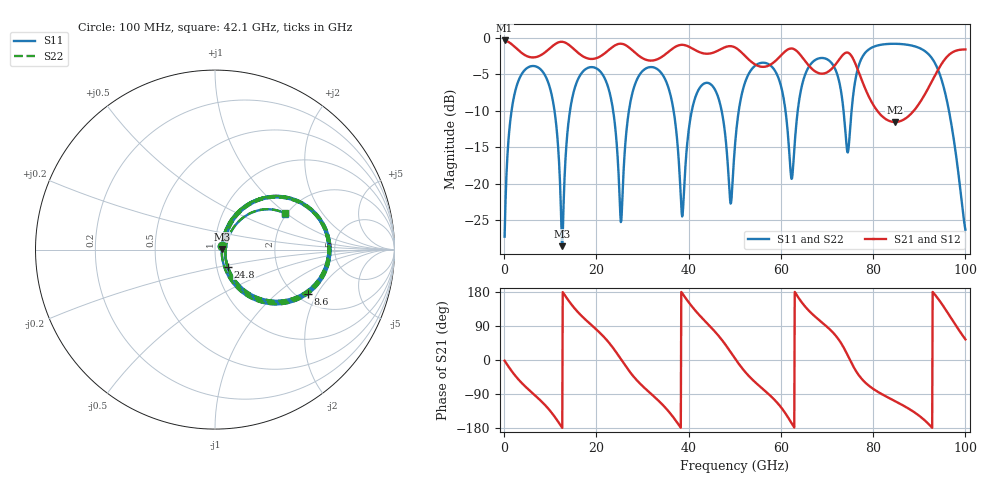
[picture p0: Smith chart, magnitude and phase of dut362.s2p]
! Touchstone file exported from HFSS 2026.1.0
!  File:  C:/ffzhzh/LocalFiles/Ansys_Project_Files/temp_train_TSV_RDL_362_1783711029_45164.aedt
!  Generated:  03:54:08 AM Jul 11, 2026
!  Design:  TSV_RDL
!  Project:  temp_train_TSV_RDL_362_1783711029_45164
! Variables:
!  h_bsmrdl = 2.68um
!  h_ox = 20um
!  h_rdl = 5um
!  h_sub = 50.05um
!  h_tmrdl = 3.71um
!  h_tsv = 50.05um
!  h_via = 3um
!  l_bsmrdl = 639.91um
!  l_sub = 5048.76um
!  l_tmrdl = 662.09um
!  m_sub = 200um
!  pitch = 44.55um
!  r_tsv = 9.3um
!  s_tmrdl = 10um
!  w_bsmrdl = 12.6um
!  w_sub = 500um
!  w_tmrdl = 14.29um
!  x_tsv_center1 = 669.235um
!  x_tsv_center2 = 1321.745um
!  x_tsv_center3 = 1998.125um
!  x_tsv_center4 = 2650.635um
!  x_tsv_center5 = 3327.015um
!  x_tsv_center6 = 3979.525um
# GHz S MA R 50.000000
! Terminal data exported
! Port[1] = TM_RDL1_1_T1
! Port[2] = TM_RDL5_1_T1
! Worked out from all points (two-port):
!   1000 points, 100 MHz to 100 GHz, reference 50 ohm
!   highest |S21| = -0.33 dB at 100 MHz (marker M1); lowest = -11.5 dB at 84.7 GHz (marker M2)
!   |S21| within 3 dB of the highest: start of sweep to 53.74 GHz; 58.46 GHz to 65.47 GHz (7.01 GHz wide, 11.3 % of centre) (the widest 2 of 4)
!   lowest |S11| = -28.5 dB at 12.6 GHz (marker M3), VSWR 1.08, Z = 53.9 + j0.386 ohm
!   |S11| at or under -10 dB: 36.75 GHz to 40.67 GHz (3.927 GHz wide, 10.1 % of centre); 47.16 GHz to 50.86 GHz (3.694 GHz wide, 7.54 % of centre); 96.44 GHz to end of sweep (the widest 3 of 8)
!   |S22| runs from -28.6 to -0.8 dB; largest |S21 - S12| = 5.2e-12
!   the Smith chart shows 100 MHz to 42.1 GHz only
!   S11 on the Smith chart (normalised r, x): 100 MHz: 1.08, +0.05; 8.6 GHz: 2.28, -1.68; 24.8 GHz: 1.13, -0.22; 42.1 GHz: 1.96, +0.98
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0.1  0.04347 29.0  0.9624 -1.9  0.9624 -1.9  0.04347 29.0
! Gamma 0 0 0 0
! Port Impedance 50 0 50 0
2.6  0.4563 41.0  0.8522 -44.3  0.8522 -44.3  0.4563 41.0
8.6  0.5733 -25.6  0.7864 -115.5  0.7864 -115.5  0.5733 -25.6
12.6  0.03741 5.5  0.9419 -179.1  0.9419 -179.1  0.03715 5.5
16.8  0.5752 23.3  0.759 116.3  0.759 116.3  0.5752 23.3
22.3  0.4855 -35.3  0.8085 51.9  0.8085 51.9  0.4855 -35.3
24.8  0.1183 -53.0  0.9111 11.4  0.9111 11.4  0.1185 -52.9
28.2  0.4643 38.7  0.8031 -45.6  0.8031 -45.6  0.4643 38.6
33.4  0.6058 -15.8  0.7193 -106.6  0.7193 -106.6  0.6058 -15.8
38.6  0.0598 -5.0  0.8984 176.1  0.8984 176.1  0.05897 -5.1
42.1  0.4392 27.3  0.8065 121.4  0.8065 121.4  0.4391 27.3
46.7  0.3657 -23.0  0.8301 60.7  0.8301 60.7  0.3657 -23.0
49  0.07673 2.4  0.88 22.7  0.88 22.7  0.07633 2.3
50.1  0.1932 69.6  0.8608 3.1  0.8608 3.1  0.193 69.8
59.4  0.5395 -19.5  0.7255 -115.4  0.7255 -115.4  0.5395 -19.4
62.4  0.1088 17.9  0.8475 -168.2  0.8475 -168.2  0.1094 17.9
66.7  0.6758 28.0  0.6162 122.4  0.6162 122.4  0.6759 28.0
74.7  0.1791 27.9  0.7898 6.9  0.7898 6.9  0.1793 27.9
83.4  0.9116 -11.4  0.271 -100.0  0.271 -100.0  0.9115 -11.4
84.7  0.9133 -18.6  0.2654 -108.2  0.2654 -108.2  0.9132 -18.6
94.8  0.5227 -108.2  0.6615 149.6  0.6615 149.6  0.5226 -108.2
100  0.04853 151.8  0.8354 54.4  0.8354 54.4  0.04855 152.5
